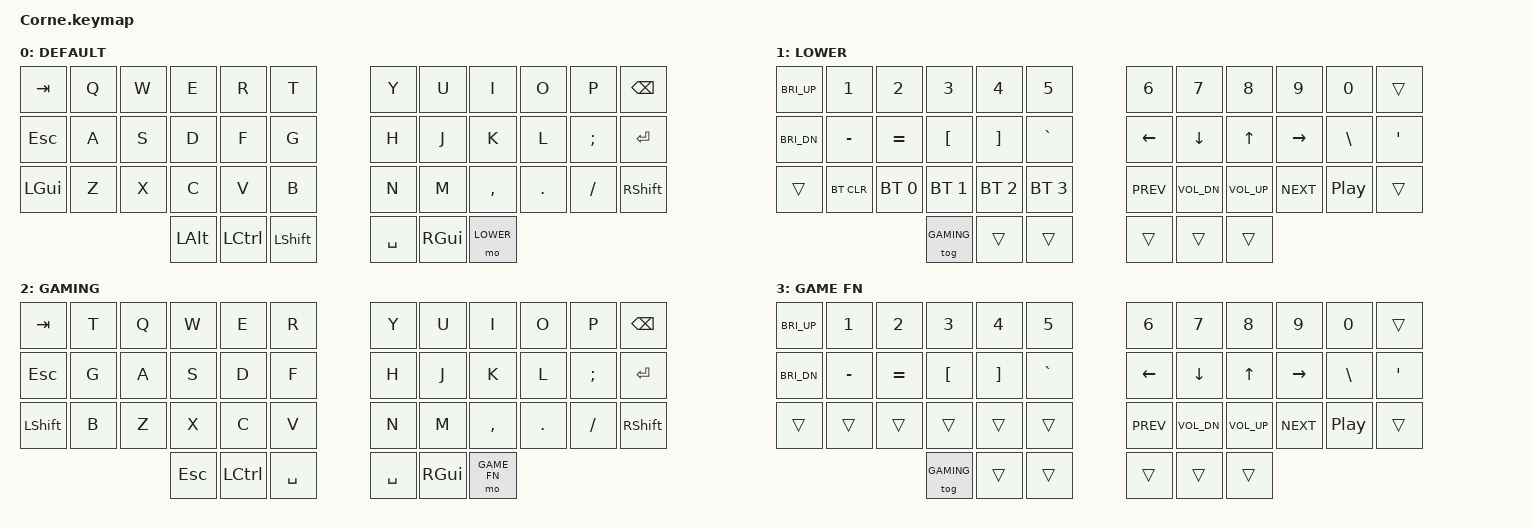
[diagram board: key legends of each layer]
/*
 * Copyright (c) 2020 The ZMK Contributors
 *
 * SPDX-License-Identifier: MIT
 */

#include <behaviors.dtsi>
#include <dt-bindings/zmk/keys.h>
#include <dt-bindings/zmk/bt.h>

#define DEFAULT 0
#define LOWER 1
#define GAMING 2
#define GAME_FN 3

/ {
  keymap {
    compatible = "zmk,keymap";

    default_layer {
      bindings = <
  &kp TAB  &kp Q &kp W &kp E &kp R &kp T    &kp Y &kp U  &kp I     &kp O   &kp P    &kp BSPC
  &kp ESC  &kp A &kp S &kp D &kp F &kp G    &kp H &kp J  &kp K     &kp L   &kp SEMI &kp RET
  &kp LGUI &kp Z &kp X &kp C &kp V &kp B    &kp N &kp M  &kp COMMA &kp DOT &kp FSLH &kp RSHIFT
           &kp LALT &kp LCTRL &kp LSHIFT    &kp SPACE &kp RGUI &mo LOWER
      >;
      display-name = "DEFAULT";
    };
    lower_layer {
      bindings = <
  &kp C_BRI_UP &kp N1     &kp N2       &kp N3       &kp N4       &kp N5          &kp N6     &kp N7       &kp N8       &kp N9     &kp N0           &trans
  &kp C_BRI_DN &kp MINUS  &kp EQUAL    &kp LBKT     &kp RBKT     &kp GRAVE       &kp LEFT   &kp DOWN     &kp UP       &kp RIGHT  &kp BSLH         &kp APOS
  &trans       &bt BT_CLR &bt BT_SEL 0 &bt BT_SEL 1 &bt BT_SEL 2 &bt BT_SEL 3    &kp C_PREV &kp C_VOL_DN &kp C_VOL_UP &kp C_NEXT &kp C_PLAY_PAUSE &trans
                                                  &tog GAMING &trans &trans    &trans &trans &trans
      >;
      display-name = "LOWER";
    };
    gaming_layer {
      bindings = <
  &kp TAB    &kp T &kp Q &kp W &kp E &kp R    &kp Y &kp U  &kp I     &kp O   &kp P    &kp BSPC
  &kp ESC    &kp G &kp A &kp S &kp D &kp F    &kp H &kp J  &kp K     &kp L   &kp SEMI &kp RET
  &kp LSHIFT &kp B &kp Z &kp X &kp C &kp V    &kp N &kp M  &kp COMMA &kp DOT &kp FSLH &kp RSHIFT
                     &kp ESC &kp LCTRL &kp SPACE    &kp SPACE &kp RGUI &mo GAME_FN
      >;
      display-name = "GAMING";
    };
    game_fn_layer {
      bindings = <
  &kp C_BRI_UP &kp N1    &kp N2    &kp N3    &kp N4    &kp N5       &kp N6     &kp N7       &kp N8       &kp N9     &kp N0           &trans
  &kp C_BRI_DN &kp MINUS &kp EQUAL &kp LBKT  &kp RBKT  &kp GRAVE    &kp LEFT   &kp DOWN     &kp UP       &kp RIGHT  &kp BSLH         &kp APOS
  &trans       &trans    &trans    &trans    &trans    &trans       &kp C_PREV &kp C_VOL_DN &kp C_VOL_UP &kp C_NEXT &kp C_PLAY_PAUSE &trans
                                                   &tog GAMING &trans &trans    &trans &trans &trans
      >;
      display-name = "GAME FN";
    };
    extra1 { status = "reserved"; };
    extra2 { status = "reserved"; };
    extra3 { status = "reserved"; };
    extra4 { status = "reserved"; };
    extra5 { status = "reserved"; };
  };
};
